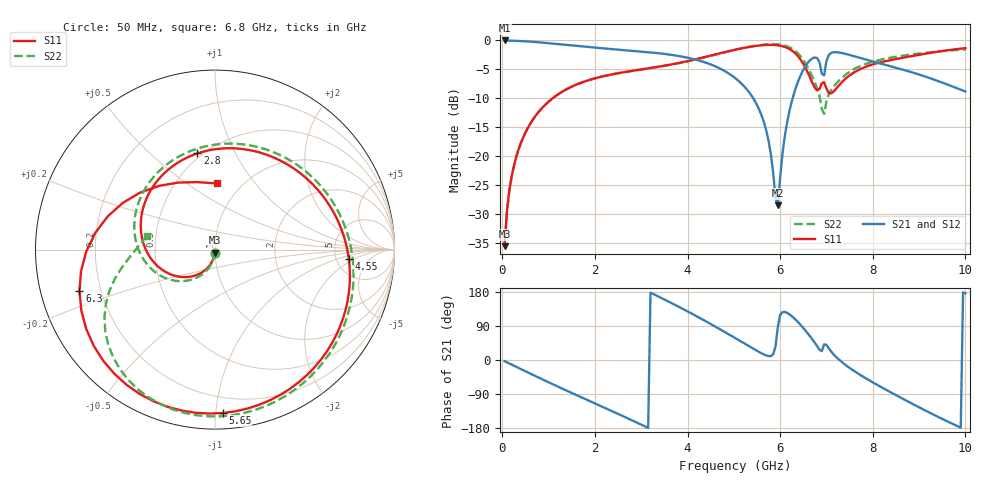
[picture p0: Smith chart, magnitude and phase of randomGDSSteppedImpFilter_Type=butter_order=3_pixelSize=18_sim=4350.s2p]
! freq	dB(S11)	phase(S11)	dB(S12)	phase(S12)
!  dB(S21)	phase(S21)	dB(S22)	phase(S22)
!S-par simulation data
#  GHz  S  DB  R 50
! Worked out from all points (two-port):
!   200 points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, 50 MHz to 10 GHz, reference 50 ohm
!   highest |S21| = 0.00 dB at 50 MHz (marker M1); lowest = -28.5 dB at 5.95 GHz (marker M2)
!   |S21| within 3 dB of the highest: start of sweep to 4.007 GHz; 7.027 GHz to 7.717 GHz (690.2 MHz wide, 9.36 % of centre) (the widest 2 of 3)
!   lowest |S11| = -35.6 dB at 50 MHz (marker M3), VSWR 1.03, Z = 49.9 - j1.65 ohm
!   |S11| at or under -10 dB: start of sweep to 1.09 GHz
!   |S22| runs from -35.6 to -0.6 dB; largest |S21 - S12| = 0
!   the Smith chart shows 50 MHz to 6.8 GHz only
!   S11 on the Smith chart (normalised r, x): 50 MHz: 1.00, -0.03; 2.8 GHz: 0.47, +0.72; 4.55 GHz: 6.54, -1.58; 5.65 GHz: 0.10, -1.04; 6.3 GHz: 0.12, -0.15; 6.8 GHz: 0.78, +0.66
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0.05  -35.61 -93.1  -0.00 -3.0  -0.00 -3.0  -35.61 -92.6
0.2  -23.65 -103.1  -0.04 -12.0  -0.04 -12.0  -23.64 -101.3
0.5  -15.95 -122.6  -0.15 -29.8  -0.15 -29.8  -15.94 -118.1
1.75  -7.19 161.1  -1.06 -100.8  -1.06 -100.8  -7.18 176.1
2.8  -5.27 100.3  -1.78 -159.1  -1.78 -159.1  -5.29 120.2
3.4  -4.51 65.8  -2.24 165.8  -2.24 165.8  -4.54 84.6
4.55  -2.53 -4.1  -4.31 91.6  -4.31 91.6  -2.56 6.0
5.05  -1.57 -38.7  -6.65 56.5  -6.65 56.5  -1.57 -30.6
5.65  -0.80 -87.4  -14.18 14.5  -14.18 14.5  -0.72 -75.9
5.95  -0.85 -117.5  -28.55 87.6  -28.55 87.6  -0.67 -100.4
6.1  -1.13 -135.2  -16.58 126.8  -16.58 126.8  -0.88 -113.9
6.3  -2.05 -163.0  -9.16 110.3  -9.16 110.3  -1.66 -133.3
6.7  -7.41 118.8  -3.08 53.8  -3.08 53.8  -6.36 -174.5
6.8  -8.66 88.1  -3.07 36.4  -3.07 36.4  -8.28 168.2
6.9  -7.41 38.2  -5.78 23.4  -5.78 23.4  -11.88 101.9
6.95  -7.21 0.8  -6.05 41.2  -6.05 41.2  -12.72 12.6
7.05  -9.10 -45.0  -2.53 30.8  -2.53 30.8  -9.32 -72.1
7.4  -6.71 -103.3  -2.30 -12.0  -2.30 -12.0  -6.01 -107.9
7.9  -4.41 -157.5  -3.42 -52.0  -3.42 -52.0  -3.92 -130.8
8.35  -3.46 159.0  -4.39 -82.8  -4.39 -82.8  -3.03 -148.7
9.15  -2.28 84.7  -6.30 -134.2  -6.30 -134.2  -2.12 -178.0
10  -1.34 18.2  -8.83 176.0  -8.83 176.0  -1.57 148.9
